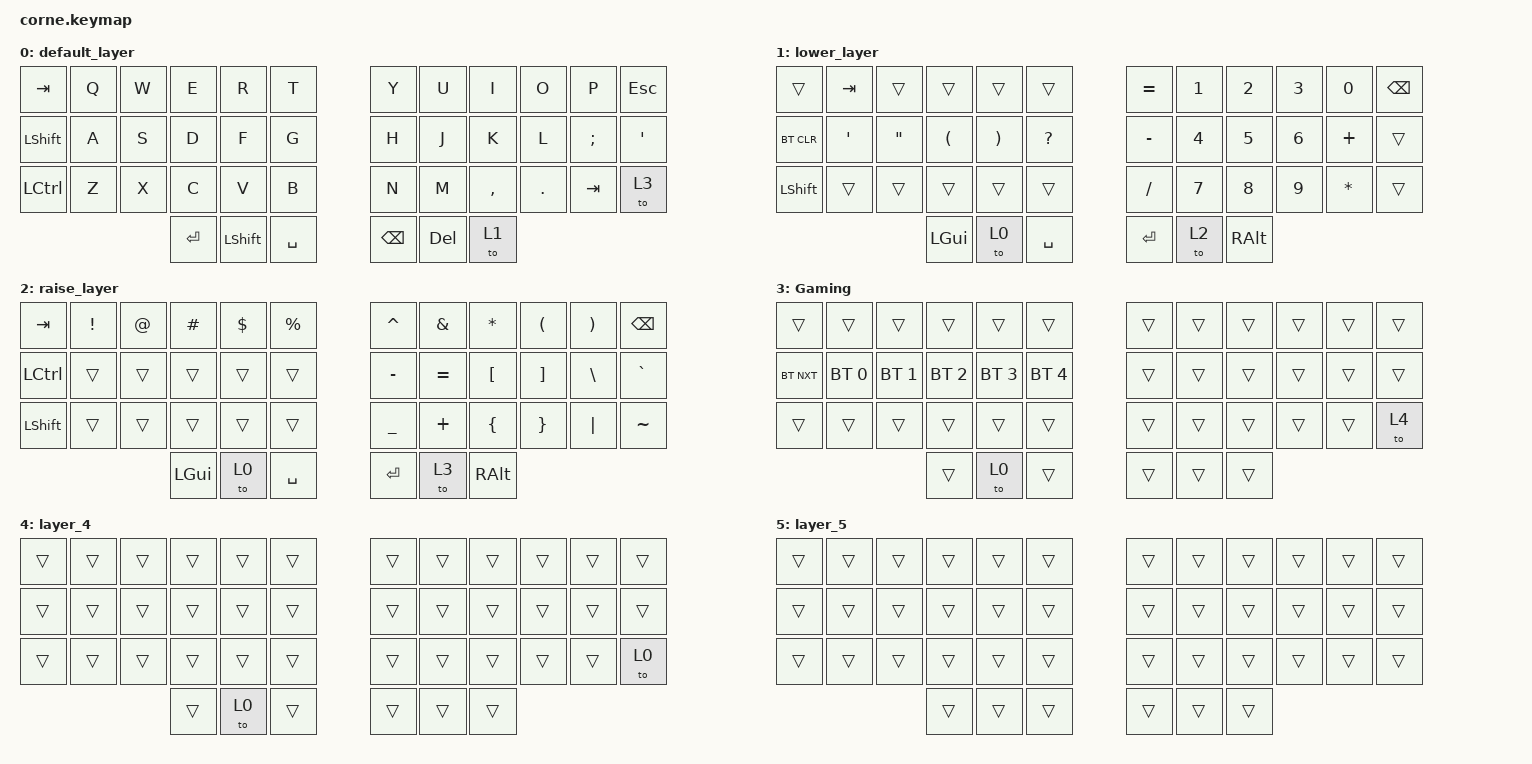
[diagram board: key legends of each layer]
/*
 * Copyright (c) 2020 The ZMK Contributors
 *
 * SPDX-License-Identifier: MIT
 */

#include <behaviors.dtsi>
#include <dt-bindings/zmk/bt.h>
#include <dt-bindings/zmk/keys.h>

/ {
    keymap {
        compatible = "zmk,keymap";

        default_layer {
            // -----------------------------------------------------------------------------------------
            // |  TAB |  Q  |  W  |  E  |  R  |  T  |   |  Y  |  U   |  I  |  O  |  P  | BSPC |
            // | CTRL |  A  |  S  |  D  |  F  |  G  |   |  H  |  J   |  K  |  L  |  ;  |  '   |
            // | SHFT |  Z  |  X  |  C  |  V  |  B  |   |  N  |  M   |  ,  |  .  |  /  | ESC  |
            //                    | GUI | LWR | SPC |   | ENT | RSE  | ALT |

            bindings = <
&kp TAB           &kp Q  &kp W  &kp E       &kp R      &kp T        &kp Y          &kp U       &kp I      &kp O    &kp P     &kp ESCAPE
&kp LEFT_SHIFT    &kp A  &kp S  &kp D       &kp F      &kp G        &kp H          &kp J       &kp K      &kp L    &kp SEMI  &kp SQT
&kp LEFT_CONTROL  &kp Z  &kp X  &kp C       &kp V      &kp B        &kp N          &kp M       &kp COMMA  &kp DOT  &kp TAB   &to 3
                                &kp RETURN  &kp LSHFT  &kp SPACE    &kp BACKSPACE  &kp DELETE  &to 1
            >;
        };

        lower_layer {
            // -----------------------------------------------------------------------------------------
            // |  TAB |  1  |  2  |  3  |  4  |  5  |   |  6  |  7  |  8  |  9  |  0  | BSPC |
            // | BTCLR| BT1 | BT2 | BT3 | BT4 | BT5 |   | LFT | DWN |  UP | RGT |     |      |
            // | SHFT |     |     |     |     |     |   |     |     |     |     |     |      |
            //                    | GUI |     | SPC |   | ENT |     | ALT |

            bindings = <
&trans      &kp TAB  &trans             &trans                &trans                 &trans          &kp EQUAL  &kp NUMBER_1  &kp NUMBER_2  &kp NUMBER_3  &kp N0        &kp BSPC
&bt BT_CLR  &kp SQT  &kp DOUBLE_QUOTES  &kp LEFT_PARENTHESIS  &kp RIGHT_PARENTHESIS  &kp QUESTION    &kp MINUS  &kp NUMBER_4  &kp N5        &kp NUMBER_6  &kp PLUS      &trans
&kp LSHFT   &trans   &trans             &trans                &trans                 &trans          &kp SLASH  &kp N7        &kp N8        &kp N9        &kp ASTERISK  &trans
                                        &kp LGUI              &to 0                  &kp SPACE       &kp RET    &to 2         &kp RALT
            >;
        };

        raise_layer {
            // -----------------------------------------------------------------------------------------
            // |  TAB |  !  |  @  |  #  |  $  |  %  |   |  ^  |  &  |  *  |  (  |  )  | BSPC |
            // | CTRL |     |     |     |     |     |   |  -  |  =  |  [  |  ]  |  \  |  `   |
            // | SHFT |     |     |     |     |     |   |  _  |  +  |  {  |  }  | "|" |  ~   |
            //                    | GUI |     | SPC |   | ENT |     | ALT |

            bindings = <
&kp TAB    &kp EXCL  &kp AT  &kp HASH  &kp DLLR  &kp PRCNT    &kp CARET  &kp AMPS   &kp ASTRK  &kp LPAR  &kp RPAR  &kp BSPC
&kp LCTRL  &trans    &trans  &trans    &trans    &trans       &kp MINUS  &kp EQUAL  &kp LBKT   &kp RBKT  &kp BSLH  &kp GRAVE
&kp LSHFT  &trans    &trans  &trans    &trans    &trans       &kp UNDER  &kp PLUS   &kp LBRC   &kp RBRC  &kp PIPE  &kp TILDE
                             &kp LGUI  &to 0     &kp SPACE    &kp RET    &to 3      &kp RALT
            >;
        };

        Gaming {
            bindings = <
&trans      &trans        &trans        &trans        &trans        &trans          &trans  &trans  &trans  &trans  &trans  &trans
&bt BT_NXT  &bt BT_SEL 0  &bt BT_SEL 1  &bt BT_SEL 2  &bt BT_SEL 3  &bt BT_SEL 4    &trans  &trans  &trans  &trans  &trans  &trans
&trans      &trans        &trans        &trans        &trans        &trans          &trans  &trans  &trans  &trans  &trans  &to 4
                                        &trans        &to 0         &trans          &trans  &trans  &trans
            >;
        };

        layer_4 {
            bindings = <
&trans  &trans  &trans  &trans  &trans  &trans    &trans  &trans  &trans  &trans  &trans  &trans
&trans  &trans  &trans  &trans  &trans  &trans    &trans  &trans  &trans  &trans  &trans  &trans
&trans  &trans  &trans  &trans  &trans  &trans    &trans  &trans  &trans  &trans  &trans  &to 0
                        &trans  &to 0   &trans    &trans  &trans  &trans
            >;
        };

        layer_5 {
            bindings = <
&trans  &trans  &trans  &trans  &trans  &trans    &trans  &trans  &trans  &trans  &trans  &trans
&trans  &trans  &trans  &trans  &trans  &trans    &trans  &trans  &trans  &trans  &trans  &trans
&trans  &trans  &trans  &trans  &trans  &trans    &trans  &trans  &trans  &trans  &trans  &trans
                        &trans  &trans  &trans    &trans  &trans  &trans
            >;
        };
    };
};
